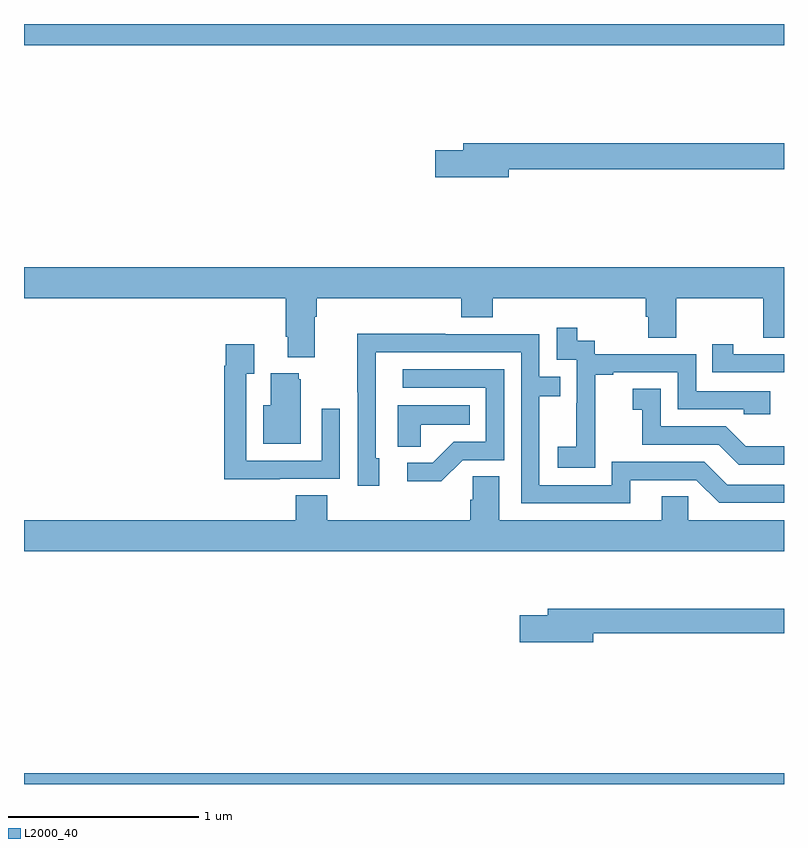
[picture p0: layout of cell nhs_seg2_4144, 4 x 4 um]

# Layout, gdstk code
import gdstk
lib = gdstk.Library(unit=1e-6, precision=1e-09)
def R(c, l, rs):  # rectangles x0, y0, x1, y1
    for r in rs: c.add(gdstk.rectangle(r[:2], r[2:], *l))
def P(c, l, *ps):  # polygons
    for p in ps: c.add(gdstk.Polygon(p, *l))
L2000_40 = (2000, 40)

nhs_seg2_4144 = lib.new_cell('nhs_seg2_4144')
R(nhs_seg2_4144, L2000_40, [(335,591.8,339,591.856), (335,595.688,339,595.8)])
P(nhs_seg2_4144, L2000_40, [(337.552,595.036),(339,595.036),(339,595.172),(337.313,595.172),(337.313,595.136),(337.164,595.136),(337.164,594.994),(337.552,594.994)],
  [(336.529,594.26),(336.542,594.26),(336.542,594.356),(337.301,594.356),(337.301,594.257),(337.466,594.257),(337.466,594.356),(338.273,594.356),(338.273,594.258),(338.285,594.258),(338.285,594.148),(338.433,594.148),(338.433,594.356),(338.89,594.356),(338.89,594.148),(339,594.148),(339,594.52),(335,594.52),(335,594.356),(336.377,594.356),(336.377,594.154),(336.389,594.154),(336.389,594.047),(336.529,594.047)],
  [(338.007,593.671),(338.006,593.671),(338.006,593.955),(338.101,593.955),(338.101,593.967),(338.442,593.967),(338.442,593.772),(338.787,593.772),(338.787,593.745),(338.927,593.745),(338.927,593.868),(338.538,593.868),(338.538,594.063),(338.004,594.063),(338.004,594.132),(337.912,594.132),(337.912,594.202),(337.803,594.202),(337.803,594.033),(337.908,594.033),(337.908,593.804),(337.907,593.804),(337.907,593.575),(337.809,593.575),(337.809,593.465),(338.007,593.465)],
  [(338.191,593.4),(338.538,593.4),(338.658,593.28),(339,593.28),(339,593.376),(338.7,593.376),(338.58,593.496),(338.094,593.496),(338.094,593.373),(337.713,593.373),(337.713,593.842),(337.823,593.842),(337.823,593.943),(337.713,593.943),(337.713,594.168),(337.217,594.168),(337.217,594.17),(336.754,594.17),(336.754,593.863),(336.756,593.863),(336.756,593.37),(336.871,593.37),(336.871,593.514),(336.852,593.514),(336.852,594.072),(337.617,594.072),(337.617,593.277),(338.191,593.277)],
  [(336.347,593.406),(336.663,593.406),(336.663,593.776),(336.567,593.776),(336.567,593.502),(336.171,593.502),(336.171,593.959),(336.211,593.959),(336.211,594.115),(336.063,594.115),(336.063,594.002),(336.055,594.002),(336.055,593.405),(336.347,593.405)],
  [(339,594.063),(338.734,594.063),(338.734,594.115),(338.623,594.115),(338.623,593.967),(339,593.967)],
  [(337.308,593.505),(337.527,593.505),(337.527,593.982),(336.993,593.982),(336.993,593.886),(337.431,593.886),(337.431,593.601),(337.262,593.601),(337.151,593.49),(337.017,593.49),(337.017,593.393),(337.195,593.393)],
  [(336.457,593.931),(336.446,593.931),(336.446,593.962),(336.299,593.962),(336.299,593.794),(336.26,593.794),(336.26,593.591),(336.457,593.591)],
  [(339,593.578),(338.798,593.578),(338.694,593.682),(338.352,593.682),(338.352,593.881),(338.205,593.881),(338.205,593.771),(338.254,593.771),(338.254,593.586),(338.657,593.586),(338.762,593.481),(339,593.481)],
  [(337.089,593.69),(337.346,593.69),(337.346,593.794),(336.968,593.794),(336.968,593.575),(337.089,593.575)],
  [(339,593.188),(338.496,593.188),(338.496,593.315),(338.357,593.315),(338.357,593.188),(337.501,593.188),(337.501,593.42),(337.362,593.42),(337.362,593.297),(337.349,593.297),(337.349,593.188),(336.596,593.188),(336.596,593.321),(336.431,593.321),(336.431,593.188),(335,593.188),(335,593.024),(339,593.024)],
  [(337.996,592.594),(339,592.594),(339,592.723),(337.757,592.723),(337.757,592.689),(337.608,592.689),(337.608,592.547),(337.996,592.547)])

lib.write_gds('nhs_seg2_4144.gds')
